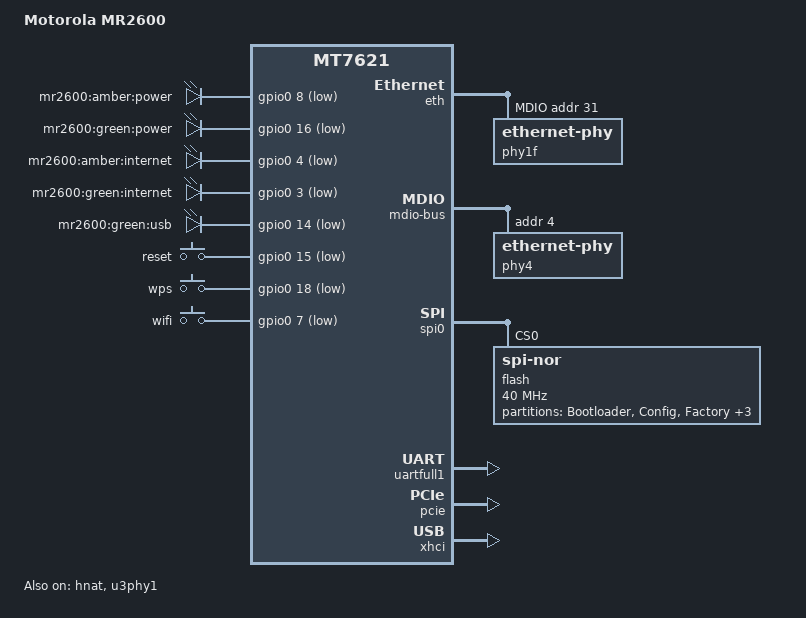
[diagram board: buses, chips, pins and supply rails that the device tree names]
/dts-v1/;

#include "mt7621.dtsi"
#include <dt-bindings/input/input.h>

/ {
	compatible = "mediatek,mr2600", "mediatek,mt7621-soc";
	model = "Motorola MR2600";

	chosen {
		bootargs = "console=ttyS0,57600";
	};

	gpio-leds {
		compatible = "gpio-leds";

		power_amber {
			label = "mr2600:amber:power";
			gpios = <&gpio0 8 1>;
		};

		power_green {
			label = "mr2600:green:power";
			gpios = <&gpio0 16 1>;
		};

		internet_amber {
			label = "mr2600:amber:internet";
			gpios = <&gpio0 4 1>;
		};

		internet_green {
			label = "mr2600:green:internet";
			gpios = <&gpio0 3 1>;
		};

		usb {
			label = "mr2600:green:usb";
			gpios = <&gpio0 14 1>;
		};
	};

	gpio-keys-polled {
		compatible = "gpio-keys-polled";
		#address-cells = <1>;
		#size-cells = <0>;
		poll-interval = <20>;

		reset {
			label = "reset";
			gpios = <&gpio0 15 1>;
			linux,code = <KEY_RESTART>;
		};

		wps {
			label = "wps";
			gpios = <&gpio0 18 1>;
			linux,code = <KEY_WPS_BUTTON>;
		};

		wifi {
			label = "wifi";
			gpios = <&gpio0 7 1>;
			linux,code = <KEY_RFKILL>;
		};
	};
};

&eth {
	status = "okay";

	gmac0: mac@0 {
		compatible = "mediatek,eth-mac";
		reg = <0>;
		phy-mode = "trgmii";
		fixed-link {
			speed = <1000>;
			full-duplex;
			pause;
		};
	};

	gmac1: mac@1 {
		compatible = "mediatek,eth-mac";
		reg = <1>;
		phy-mode = "rgmii";
		phy-link-handle = <&phy4>;
		fixed-link {
			speed = <1000>;
			full-duplex;
			pause;
		};
	};

	mdio: mdio-bus {
		#address-cells = <1>;
		#size-cells = <0>;

		phy1f: ethernet-phy@1f {
			reg = <0x1f>;
			phy-mode = "rgmii";
		};
	};
};

&gsw {
	mediatek,mdio = <&mdio>;
	mediatek,portmap = "llllw";
	mediatek,mcm;

	resets = <&rstctrl 2>;
	reset-names = "mcm";

	port5: port@5 {
		compatible = "mediatek,mt753x-port";
		reg = <5>;
		phy-mode = "rgmii";
		fixed-link {
			speed = <1000>;
			full-duplex;
		};
	};

	port6: port@6 {
		compatible = "mediatek,mt753x-port";
		reg = <6>;
		phy-mode = "trgmii";
		fixed-link {
			speed = <1000>;
			full-duplex;
		};
	};

	mdio-bus {
		#address-cells = <1>;
		#size-cells = <0>;

		phy4: ethernet-phy@4 {
			reg = <0x4>;
			phy-mode = "gmii";
		};
	};
};

&hnat {
	mtketh-wan = "eth1";
	mtketh-ppd = "eth0";
	ext-devices = "rai0", "ra0", "rai1", "ra1", "rai2", "ra2", "rai3", "ra3", "apclii0", "apcli0";
	mtketh-max-gmac = <2>;
	status = "okay";
};

&spi0 {
	status = "okay";

	flash@0 {
		compatible = "jedec,spi-nor";
		reg = <0>;
		spi-max-frequency = <40000000>;

		partitions {
			compatible = "fixed-partitions";
			#address-cells = <1>;
			#size-cells = <1>;

			partition@0 {
				label = "Bootloader";
				reg = <0x0 0x30000>;
				read-only;
			};

			partition@30000 {
				label = "Config";
				reg = <0x30000 0x10000>;
				read-only;
			};

			partition@40000 {
				label = "Factory";
				reg = <0x40000 0x10000>;
				read-only;
			};

			partition@50000 {
				label = "Config2";
				reg = <0x50000 0x10000>;
				read-only;
			};

			partition@60000 {
				label = "firmware";
				reg = <0x60000 0xf50000>;
			};

			partition@fb0000 {
				label = "Private";
				reg = <0xfb0000 0x50000>;
				read-only;
			};
		};
	};
};

&pinctrl {
	state_default: pinctrl0 {
		gpio {
			mtk,group = "i2c", "uart3", "jtag", "wdt";
			mtk,function = "gpio";
		};

		uart2 {
			mtk,group = "uart2";
			mtk,function = "uart2";
		};
	};
};

&uartfull1 {
	status = "okay";
};

&pcie {
	status = "okay";
};

&u3phy1 {
	status = "okay";
};

&xhci {
	status = "okay";
};
